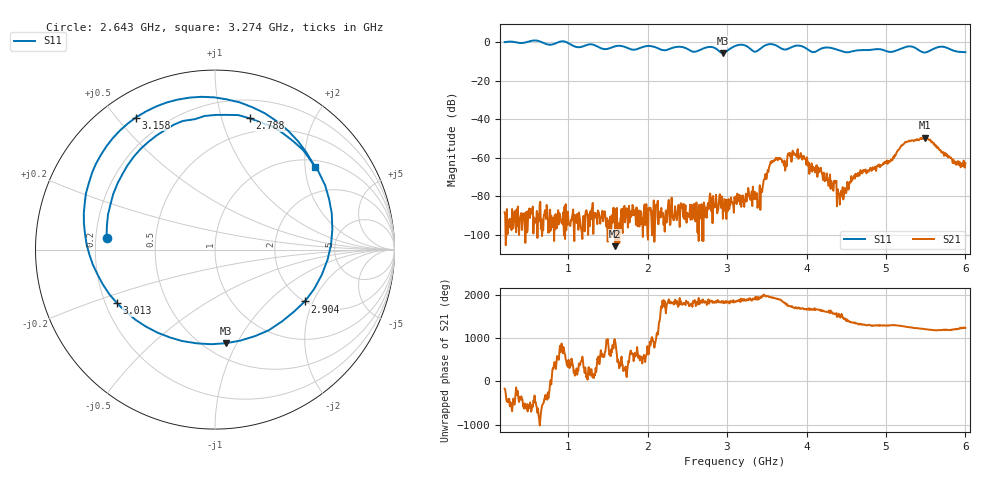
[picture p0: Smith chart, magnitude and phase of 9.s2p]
! NanoVNA-App
! Date: 2024-06-25 16:14:31
! Start: 200MHz Stop: 6GHz Points: 801
! S-Parameter data: F S11 S21 S12 S22
# Hz S RI R 50
!  Frequency  S11_Real  S11_Imag  S21_Real  S21_Imag  S12_Real  S12_Imag  S22_Real  S22_Imag
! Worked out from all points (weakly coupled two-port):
!   801 points, 200 MHz to 6 GHz, reference 50 ohm
!   highest |S21| = -49.49 dB at 5.492 GHz (marker M1); lowest = -105.9 dB at 1.592 GHz (marker M2)
!   lowest |S11| = -5.6 dB at 2.948 GHz (marker M3), VSWR 3.21, Z = 31.4 - j45.2 ohm
!   |S11| at or under -10 dB: nowhere
!   S12 and S22 are empty: the file has one direction only
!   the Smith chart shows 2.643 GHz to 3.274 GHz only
!   S11 on the Smith chart (normalised r, x): 2.643 GHz: 0.24, +0.05; 2.788 GHz: 0.36, +1.23; 2.904 GHz: 2.00, -1.74; 3.013 GHz: 0.25, -0.24; 3.158 GHz: 0.10, +0.56; 3.274 GHz: 1.17, +2.25
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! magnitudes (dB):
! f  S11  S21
! 200 MHz  0.0  -88.2
! 1.171 GHz  -2.4  -98.8
! 1.592 GHz  -2.1  -105.9
! 2.136 GHz  -3.2  -94.5
! 2.643 GHz  -4.3  -103.2
! 2.788 GHz  -2.4  -78.5
! 2.904 GHz  -4.8  -79.4
! 2.948 GHz  -5.6  -91.7
! 3.013 GHz  -4.1  -83.5
! 3.1 GHz  -2.0  -81.7
! 3.158 GHz  -1.3  -79.4
! 3.274 GHz  -2.8  -77.9
! 3.412 GHz  -3.6  -74.2
! 3.615 GHz  -1.6  -60.0
! 3.861 GHz  -1.9  -58.5
! 4.072 GHz  -5.0  -67.2
! 4.441 GHz  -4.6  -77.9
! 4.63 GHz  -4.3  -68.9
! 5.036 GHz  -5.0  -61.7
! 5.246 GHz  -2.5  -51.7
! 5.492 GHz  -5.3  -49.5
! 6 GHz  -5.2  -62.7
